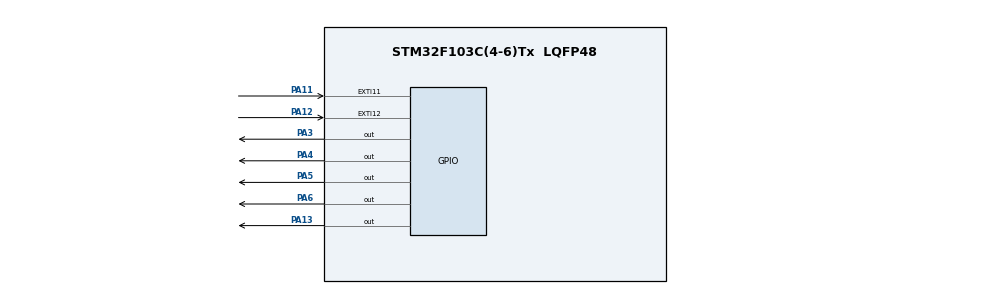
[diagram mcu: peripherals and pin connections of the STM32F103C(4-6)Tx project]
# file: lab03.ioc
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Mcu.Family=STM32F1
Mcu.Name=STM32F103C(4-6)Tx
Mcu.Package=LQFP48
NVIC.EXTI15_10_IRQn=true\:0\:0\:false\:true\:true\:1\:true\:true
NVIC.PriorityGroup=NVIC_PRIORITYGROUP_4
PA11.Signal=GPXTI11
PA12.Signal=GPXTI12
PA13.Signal=GPIO_Output
PA3.Signal=GPIO_Output
PA4.Signal=GPIO_Output
PA5.Signal=GPIO_Output
PA6.Signal=GPIO_Output
ProjectManager.HeapSize=0x200
ProjectManager.StackSize=0x400
ProjectManager.TargetToolchain=STM32CubeIDE
RCC.APB1Freq_Value=8000000
RCC.APB2Freq_Value=8000000
VP_SYS_VS_ND.Mode=No_Debug
board=custom

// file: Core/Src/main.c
/* USER CODE BEGIN Header */
/**
  ******************************************************************************
  * @file           : main.c
  * @brief          : Main program body
  ******************************************************************************
  * @attention
  *
  * <h2><center>&copy; Copyright (c) 2021 STMicroelectronics.
  * All rights reserved.</center></h2>
  *
  * This software component is licensed by ST under BSD 3-Clause license,
  * the "License"; You may not use this file except in compliance with the
  * License. You may obtain a copy of the License at:
  *                        opensource.org/licenses/BSD-3-Clause
  *
  ******************************************************************************
  */
/* USER CODE END Header */
#include "main.h"

/* USER CODE BEGIN PV */
int led = 0;
/* USER CODE END PV */

void SystemClock_Config(void);
static void MX_GPIO_Init(void);
static void MX_NVIC_Init(void);

int main(void)
{

  /* MCU Configuration--------------------------------------------------------*/

  /* Reset of all peripherals, Initializes the Flash interface and the Systick. */
  HAL_Init();

  /* Configure the system clock */
  SystemClock_Config();

  /* Initialize all configured peripherals */
  MX_GPIO_Init();

  /* Initialize interrupts */
  MX_NVIC_Init();
  /* USER CODE BEGIN 2 */
  HAL_GPIO_TogglePin(GPIOA, GPIO_PIN_3);
  HAL_GPIO_TogglePin(GPIOA, GPIO_PIN_4);
  HAL_GPIO_TogglePin(GPIOA, GPIO_PIN_5);
  HAL_GPIO_TogglePin(GPIOA, GPIO_PIN_6);
  /* USER CODE END 2 */

  /* Infinite loop */
  /* USER CODE BEGIN WHILE */
  while (1)
  {
	  if(HAL_GPIO_ReadPin(GPIOA, GPIO_PIN_12)==GPIO_PIN_SET){
		  switch(led){
		  	case 0:
		  		HAL_GPIO_TogglePin(GPIOA, GPIO_PIN_3);
		  		HAL_Delay(300);
		  		led++;
		  		break;
		  	case 1:
		  		HAL_GPIO_TogglePin(GPIOA, GPIO_PIN_4);
		  		HAL_Delay(300);
		  		led++;
		  		break;
		  	case 2:
		  		HAL_GPIO_TogglePin(GPIOA, GPIO_PIN_5);
		  		HAL_Delay(300);
		  		led++;
		  		break;
		  	case 3:
		  		HAL_GPIO_TogglePin(GPIOA, GPIO_PIN_6);
		  		HAL_Delay(300);
		  		led++;
		  		break;
		  	}
	  }

	  if(HAL_GPIO_ReadPin(GPIOA, GPIO_PIN_11)==GPIO_PIN_SET){
		  switch(led){
		  	case 1:
		  		HAL_GPIO_TogglePin(GPIOA, GPIO_PIN_3);
		  		HAL_Delay(300);
		  		led--;
		  		break;
		  	case 2:
		  		HAL_GPIO_TogglePin(GPIOA, GPIO_PIN_4);
		  		HAL_Delay(300);
		  		led--;
		  		break;
		  	case 3:
		  		HAL_GPIO_TogglePin(GPIOA, GPIO_PIN_5);
		  		HAL_Delay(300);
		  		led--;
		  		break;
		  	case 4:
		  		HAL_GPIO_TogglePin(GPIOA, GPIO_PIN_6);
		  		HAL_Delay(300);
		  		led--;
		  		break;
		  	}
	  }

	  if(led < 0)
		  led = 0;
	  if(led > 4)
		  led = 4;
    /* USER CODE END WHILE */

  }
}

void SystemClock_Config(void)
{
  RCC_OscInitTypeDef RCC_OscInitStruct = {0};
  RCC_ClkInitTypeDef RCC_ClkInitStruct = {0};

  /** Initializes the RCC Oscillators according to the specified parameters
  * in the RCC_OscInitTypeDef structure.
  */
  RCC_OscInitStruct.OscillatorType = RCC_OSCILLATORTYPE_HSI;
  RCC_OscInitStruct.HSIState = RCC_HSI_ON;
  RCC_OscInitStruct.HSICalibrationValue = RCC_HSICALIBRATION_DEFAULT;
  RCC_OscInitStruct.PLL.PLLState = RCC_PLL_NONE;
  if (HAL_RCC_OscConfig(&RCC_OscInitStruct) != HAL_OK)
  {
    Error_Handler();
  }
  /** Initializes the CPU, AHB and APB buses clocks
  */
  RCC_ClkInitStruct.ClockType = RCC_CLOCKTYPE_HCLK|RCC_CLOCKTYPE_SYSCLK
                              |RCC_CLOCKTYPE_PCLK1|RCC_CLOCKTYPE_PCLK2;
  RCC_ClkInitStruct.SYSCLKSource = RCC_SYSCLKSOURCE_HSI;
  RCC_ClkInitStruct.AHBCLKDivider = RCC_SYSCLK_DIV1;
  RCC_ClkInitStruct.APB1CLKDivider = RCC_HCLK_DIV1;
  RCC_ClkInitStruct.APB2CLKDivider = RCC_HCLK_DIV1;

  if (HAL_RCC_ClockConfig(&RCC_ClkInitStruct, FLASH_LATENCY_0) != HAL_OK)
  {
    Error_Handler();
  }
}

/**
  * @brief NVIC Configuration.
  * @retval None
  */
static void MX_NVIC_Init(void)
{
  /* EXTI15_10_IRQn interrupt configuration */
  HAL_NVIC_SetPriority(EXTI15_10_IRQn, 0, 0);
  HAL_NVIC_EnableIRQ(EXTI15_10_IRQn);
}

static void MX_GPIO_Init(void)
{
  GPIO_InitTypeDef GPIO_InitStruct = {0};

  /* GPIO Ports Clock Enable */
  __HAL_RCC_GPIOA_CLK_ENABLE();

  /*Configure GPIO pin Output Level */
  HAL_GPIO_WritePin(GPIOA, GPIO_PIN_3|GPIO_PIN_4|GPIO_PIN_5|GPIO_PIN_6
                          |GPIO_PIN_13, GPIO_PIN_RESET);

  /*Configure GPIO pins : PA3 PA4 PA5 PA6
                           PA13 */
  GPIO_InitStruct.Pin = GPIO_PIN_3|GPIO_PIN_4|GPIO_PIN_5|GPIO_PIN_6
                          |GPIO_PIN_13;
  GPIO_InitStruct.Mode = GPIO_MODE_OUTPUT_PP;
  GPIO_InitStruct.Pull = GPIO_NOPULL;
  GPIO_InitStruct.Speed = GPIO_SPEED_FREQ_LOW;
  HAL_GPIO_Init(GPIOA, &GPIO_InitStruct);

  /*Configure GPIO pins : PA11 PA12 */
  GPIO_InitStruct.Pin = GPIO_PIN_11|GPIO_PIN_12;
  GPIO_InitStruct.Mode = GPIO_MODE_IT_RISING;
  GPIO_InitStruct.Pull = GPIO_NOPULL;
  HAL_GPIO_Init(GPIOA, &GPIO_InitStruct);

}

/* USER CODE BEGIN 4 */
void HAL_GPIO_EXTI_Callback(uint16_t GPIO_Pin){
	if(GPIO_Pin == GPIO_PIN_12||GPIO_PIN_11){
		HAL_GPIO_TogglePin(GPIOA, GPIO_PIN_13);
	}
}
/* USER CODE END 4 */

void Error_Handler(void)
{
  __disable_irq();
  while (1)
  {
  }
}

/************************ (C) COPYRIGHT STMicroelectronics *****END OF FILE****/
